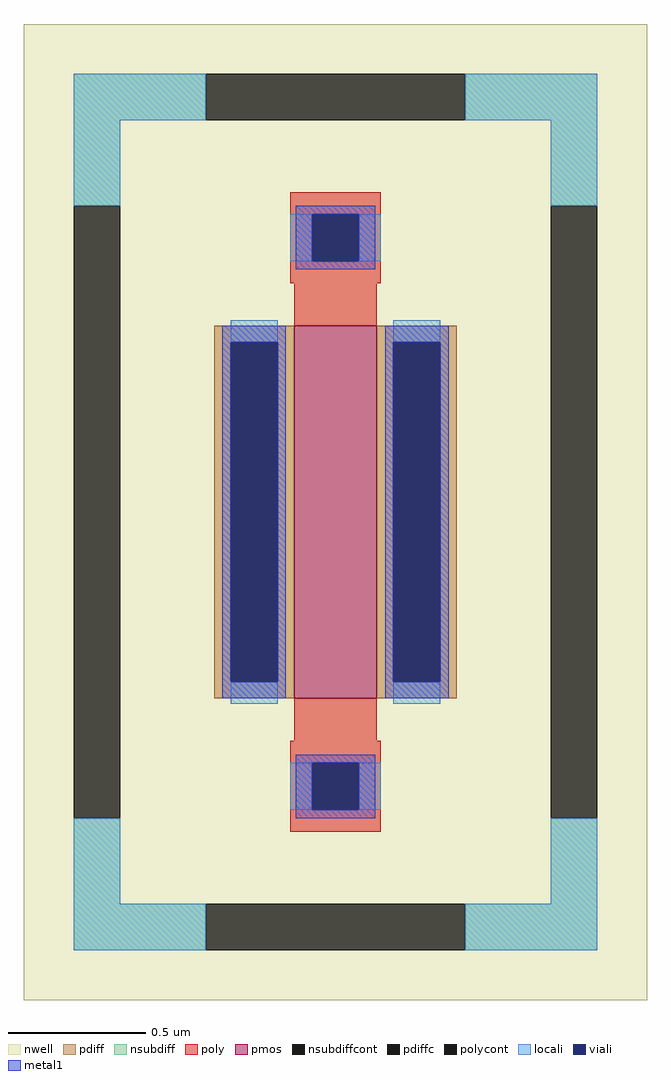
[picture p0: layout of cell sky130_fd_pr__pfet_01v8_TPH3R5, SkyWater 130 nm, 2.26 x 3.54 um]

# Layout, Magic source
magic
tech sky130A
magscale 1 2
<< nwell >>
rect -226 -354 226 354
<< pmos >>
rect -30 -135 30 135
<< pdiff >>
rect -88 123 -30 135
rect -88 -123 -76 123
rect -42 -123 -30 123
rect -88 -135 -30 -123
rect 30 123 88 135
rect 30 -123 42 123
rect 76 -123 88 123
rect 30 -135 88 -123
<< pdiffc >>
rect -76 -123 -42 123
rect 42 -123 76 123
<< nsubdiff >>
rect -190 284 -94 318
rect 94 284 190 318
rect -190 222 -156 284
rect 156 222 190 284
rect -190 -284 -156 -222
rect 156 -284 190 -222
rect -190 -318 -94 -284
rect 94 -318 190 -284
<< nsubdiffcont >>
rect -94 284 94 318
rect -190 -222 -156 222
rect 156 -222 190 222
rect -94 -318 94 -284
<< poly >>
rect -33 216 33 232
rect -33 182 -17 216
rect 17 182 33 216
rect -33 166 33 182
rect -30 135 30 166
rect -30 -166 30 -135
rect -33 -182 33 -166
rect -33 -216 -17 -182
rect 17 -216 33 -182
rect -33 -232 33 -216
<< polycont >>
rect -17 182 17 216
rect -17 -216 17 -182
<< locali >>
rect -190 284 -94 318
rect 94 284 190 318
rect -190 222 -156 284
rect 156 222 190 284
rect -33 182 -17 216
rect 17 182 33 216
rect -76 123 -42 139
rect -76 -139 -42 -123
rect 42 123 76 139
rect 42 -139 76 -123
rect -33 -216 -17 -182
rect 17 -216 33 -182
rect -190 -284 -156 -222
rect 156 -284 190 -222
rect -190 -318 -94 -284
rect 94 -318 190 -284
<< viali >>
rect -17 182 17 216
rect -76 -123 -42 123
rect 42 -123 76 123
rect -17 -216 17 -182
<< metal1 >>
rect -29 216 29 222
rect -29 182 -17 216
rect 17 182 29 216
rect -29 176 29 182
rect -82 123 -36 135
rect -82 -123 -76 123
rect -42 -123 -36 123
rect -82 -135 -36 -123
rect 36 123 82 135
rect 36 -123 42 123
rect 76 -123 82 123
rect 36 -135 82 -123
rect -29 -182 29 -176
rect -29 -216 -17 -182
rect 17 -216 29 -182
rect -29 -222 29 -216
<< properties >>
string FIXED_BBOX -173 -301 173 301
string gencell sky130_fd_pr__pfet_01v8
string library sky130
string parameters w 1.35 l 0.3 m 1 nf 1 diffcov 100 polycov 100 guard 1 glc 1 grc 1 gtc 1 gbc 1 tbcov 100 rlcov 100 topc 1 botc 1 poverlap 0 doverlap 1 lmin 0.15 wmin 0.42 compatible {sky130_fd_pr__pfet_01v8  sky130_fd_pr__pfet_01v8_lvt sky130_fd_pr__pfet_01v8_hvt  sky130_fd_pr__pfet_g5v0d10v5} full_metal 1 viasrc 100 viadrn 100 viagate 100 viagb 0 viagr 0 viagl 0 viagt 0
<< end >>
